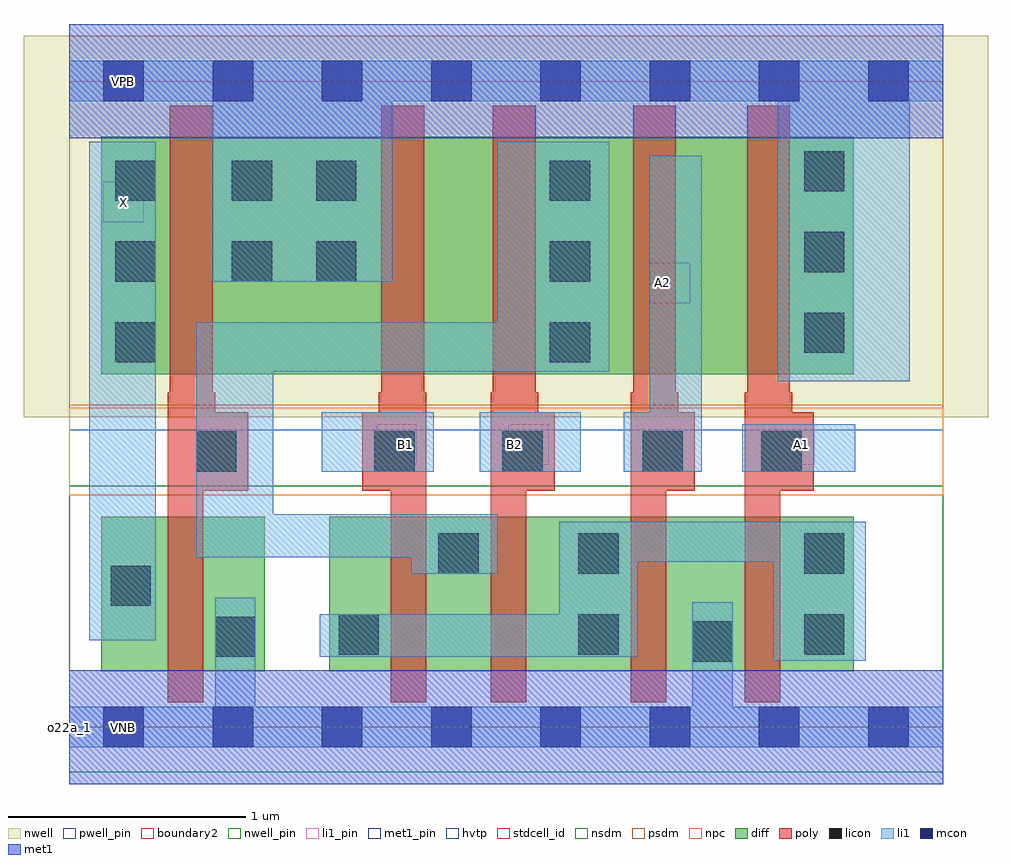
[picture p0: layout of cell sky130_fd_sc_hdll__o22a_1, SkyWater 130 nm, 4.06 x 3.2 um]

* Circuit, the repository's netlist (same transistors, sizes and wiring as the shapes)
* Copyright 2020 The SkyWater PDK Authors
*
* Licensed under the Apache License, Version 2.0 (the "License");
* you may not use this file except in compliance with the License.
* You may obtain a copy of the License at
*
*     https://www.apache.org/licenses/LICENSE-2.0
*
* Unless required by applicable law or agreed to in writing, software
* distributed under the License is distributed on an "AS IS" BASIS,
* WITHOUT WARRANTIES OR CONDITIONS OF ANY KIND, either express or implied.
* See the License for the specific language governing permissions and
* limitations under the License.
*
* SPDX-License-Identifier: Apache-2.0

.SUBCKT sky130_fd_sc_hdll__o22a_1 A1 A2 B1 B2 VGND VNB VPB VPWR X
*.PININFO A1:I A2:I B1:I B2:I VGND:I VNB:I VPB:I VPWR:I X:O
MMPA0 VPWR A1 sndA1 VPB sky130_fd_pr__pfet_01v8_hvt m=1 w=1.0U l=0.18U mult=1 sa=0.265
+ sb=0.265 sd=0.28 area=0.063 perim=1.14
MMPA1 sndA1 A2 y VPB sky130_fd_pr__pfet_01v8_hvt m=1 w=1.0U l=0.18U mult=1 sa=0.265
+ sb=0.265 sd=0.28 area=0.063 perim=1.14
MMPB0 VPWR B1 sndB1 VPB sky130_fd_pr__pfet_01v8_hvt m=1 w=1.0U l=0.18U mult=1 sa=0.265
+ sb=0.265 sd=0.28 area=0.063 perim=1.14
MMPB1 sndB1 B2 y VPB sky130_fd_pr__pfet_01v8_hvt m=1 w=1.0U l=0.18U mult=1 sa=0.265
+ sb=0.265 sd=0.28 area=0.063 perim=1.14
MMIPX X y VPWR VPB sky130_fd_pr__pfet_01v8_hvt m=1 w=1.0U l=0.18U mult=1 sa=0.265
+ sb=0.265 sd=0.28 area=0.063 perim=1.14
MMNA0 pndA A1 VGND VNB sky130_fd_pr__nfet_01v8 m=1 w=0.65U l=0.15U mult=1 sa=0.265
+ sb=0.265 sd=0.28 area=0.063 perim=1.14
MMNA1 pndA A2 VGND VNB sky130_fd_pr__nfet_01v8 m=1 w=0.65U l=0.15U mult=1 sa=0.265
+ sb=0.265 sd=0.28 area=0.063 perim=1.14
MMNB0 y B1 pndA VNB sky130_fd_pr__nfet_01v8 m=1 w=0.65U l=0.15U mult=1 sa=0.265
+ sb=0.265 sd=0.28 area=0.063 perim=1.14
MMNB1 y B2 pndA VNB sky130_fd_pr__nfet_01v8 m=1 w=0.65U l=0.15U mult=1 sa=0.265
+ sb=0.265 sd=0.28 area=0.063 perim=1.14
MMINX X y VGND VNB sky130_fd_pr__nfet_01v8 m=1 w=0.65U l=0.15U mult=1 sa=0.265
+ sb=0.265 sd=0.28 area=0.063 perim=1.14
.ENDS sky130_fd_sc_hdll__o22a_1

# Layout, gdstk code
import gdstk
lib = gdstk.Library(unit=1e-6, precision=1e-09)
def R(c, l, rs):  # rectangles x0, y0, x1, y1
    for r in rs: c.add(gdstk.rectangle(r[:2], r[2:], *l))
def A(c, l, x, y, w, h, nx, ny, dx, dy):  # array of equal rectangles
    R(c, l, [(x+i*dx, y+j*dy, x+i*dx+w, y+j*dy+h) for i in range(nx) for j in range(ny)])
def P(c, l, *ps):  # polygons
    for p in ps: c.add(gdstk.Polygon(p, *l))
nwell_pin = (64, 16)
nwell = (64, 20)
diff = (65, 20)
poly = (66, 20)
licon = (66, 44)
li1_pin = (67, 16)
li1 = (67, 20)
mcon = (67, 44)
met1_pin = (68, 16)
met1 = (68, 20)
hvtp = (78, 44)
stdcell_id = (81, 4)
nsdm = (93, 44)
psdm = (94, 20)
npc = (95, 20)
pwell_pin = (122, 16)
boundary2 = (236, 0)

sky130_fd_sc_hdll__o22a_ = lib.new_cell('sky130_fd_sc_hdll__o22a_1')
R(sky130_fd_sc_hdll__o22a_, nwell_pin, [(0.145,2.635,0.315,2.805)])
R(sky130_fd_sc_hdll__o22a_, nwell, [(-0.19,1.305,3.87,2.91)])
R(sky130_fd_sc_hdll__o22a_, diff, [(0.135,0.235,0.825,0.885), (1.095,0.235,3.305,0.885), (0.135,1.485,3.305,2.485)])
P(sky130_fd_sc_hdll__o22a_, poly, [(0.755,1.325),(0.615,1.325),(0.615,1.41),(0.605,1.41),(0.605,2.615),(0.425,2.615),(0.425,1.41),(0.415,1.41),(0.415,0.105),(0.565,0.105),(0.565,0.995),(0.755,0.995)],
  [(1.505,1.41),(1.495,1.41),(1.495,2.615),(1.315,2.615),(1.315,1.41),(1.305,1.41),(1.305,1.325),(1.235,1.325),(1.235,0.995),(1.355,0.995),(1.355,0.105),(1.505,0.105)],
  [(2.045,1.325),(1.975,1.325),(1.975,1.41),(1.965,1.41),(1.965,2.615),(1.785,2.615),(1.785,1.41),(1.775,1.41),(1.775,0.105),(1.925,0.105),(1.925,0.995),(2.045,0.995)],
  [(2.635,1.325),(2.565,1.325),(2.565,1.41),(2.555,1.41),(2.555,2.615),(2.375,2.615),(2.375,1.41),(2.365,1.41),(2.365,0.105),(2.515,0.105),(2.515,0.995),(2.635,0.995)],
  [(3.135,1.325),(3.045,1.325),(3.045,1.41),(3.035,1.41),(3.035,2.615),(2.855,2.615),(2.855,1.41),(2.845,1.41),(2.845,0.105),(2.995,0.105),(2.995,0.995),(3.135,0.995)])
A(sky130_fd_sc_hdll__o22a_, licon, 0.195, 1.535, 0.17, 0.17, 1, 3, 0, 0.34)
A(sky130_fd_sc_hdll__o22a_, licon, 2.025, 1.535, 0.17, 0.17, 1, 3, 0, 0.34)
A(sky130_fd_sc_hdll__o22a_, licon, 3.095, 1.575, 0.17, 0.17, 1, 3, 0, 0.34)
R(sky130_fd_sc_hdll__o22a_, licon, [(2.625,0.275,2.795,0.445), (0.615,0.295,0.785,0.465), (1.135,0.305,1.305,0.475), (2.145,0.305,2.315,0.475), (3.095,0.305,3.265,0.475), (0.175,0.51,0.345,0.68), (1.555,0.645,1.725,0.815), (2.145,0.645,2.315,0.815), (3.095,0.645,3.265,0.815), (0.535,1.075,0.705,1.245), (1.285,1.075,1.455,1.245), (1.825,1.075,1.995,1.245), (2.415,1.075,2.585,1.245), (2.915,1.075,3.085,1.245), (0.685,1.875,0.855,2.045), (1.04,1.875,1.21,2.045), (0.685,2.215,0.855,2.385), (1.04,2.215,1.21,2.385)])
R(sky130_fd_sc_hdll__o22a_, li1_pin, [(1.295,1.105,1.465,1.275), (1.85,1.105,2.02,1.275), (2.97,1.105,3.14,1.275), (2.445,1.785,2.615,1.955), (0.145,2.125,0.315,2.295)])
R(sky130_fd_sc_hdll__o22a_, li1, [(0.085,0.365,0.365,2.465), (1.065,1.075,1.535,1.325), (1.73,1.075,2.155,1.325), (2.835,1.075,3.31,1.275)])
P(sky130_fd_sc_hdll__o22a_, li1, [(2.275,2.465),(1.805,2.465),(1.805,1.705),(0.535,1.705),(0.535,0.715),(1.44,0.715),(1.44,0.645),(1.805,0.645),(1.805,0.895),(0.86,0.895),(0.86,1.495),(2.275,1.495)],
  [(2.665,2.405),(2.445,2.405),(2.445,1.325),(2.335,1.325),(2.335,1.075),(2.665,1.075)],
  [(3.68,0.085),(2.795,0.085),(2.795,0.525),(2.625,0.525),(2.625,0.085),(0.785,0.085),(0.785,0.545),(0.615,0.545),(0.615,0.085),(0,0.085),(0,-0.085),(3.68,-0.085)],
  [(3.355,0.865),(2.065,0.865),(2.065,0.475),(1.055,0.475),(1.055,0.295),(2.395,0.295),(2.395,0.695),(2.965,0.695),(2.965,0.28),(3.355,0.28)],
  [(3.68,2.805),(0,2.805),(0,2.635),(0.605,2.635),(0.605,1.875),(1.36,1.875),(1.36,2.635),(2.985,2.635),(2.985,1.455),(3.54,1.455),(3.54,2.635),(3.68,2.635)])
A(sky130_fd_sc_hdll__o22a_, mcon, 0.145, -0.085, 0.17, 0.17, 8, 2, 0.46, 2.72)
R(sky130_fd_sc_hdll__o22a_, met1_pin, [(0.145,-0.085,0.315,0.085), (0.145,2.635,0.315,2.805)])
R(sky130_fd_sc_hdll__o22a_, met1, [(0,-0.24,3.68,0.24), (0,2.48,3.68,2.96)])
R(sky130_fd_sc_hdll__o22a_, hvtp, [(0,1.25,3.68,2.72)])
R(sky130_fd_sc_hdll__o22a_, stdcell_id, [(0,0,3.68,2.72)])
R(sky130_fd_sc_hdll__o22a_, nsdm, [(0,-0.19,3.68,1.015)])
R(sky130_fd_sc_hdll__o22a_, psdm, [(0,1.355,3.68,2.91)])
R(sky130_fd_sc_hdll__o22a_, npc, [(0,0.975,3.68,1.345)])
R(sky130_fd_sc_hdll__o22a_, pwell_pin, [(0.145,-0.085,0.315,0.085)])
R(sky130_fd_sc_hdll__o22a_, boundary2, [(0,0,3.68,2.72)])
sky130_fd_sc_hdll__o22a_.add(gdstk.Label('A2', (2.5,1.87), layer=67, texttype=5))
sky130_fd_sc_hdll__o22a_.add(gdstk.Label('X', (0.23,2.21), layer=67, texttype=5))
sky130_fd_sc_hdll__o22a_.add(gdstk.Label('B1', (1.415,1.19), layer=67, texttype=5))
sky130_fd_sc_hdll__o22a_.add(gdstk.Label('A1', (3.085,1.19), layer=67, texttype=5))
sky130_fd_sc_hdll__o22a_.add(gdstk.Label('B2', (1.875,1.19), layer=67, texttype=5))
sky130_fd_sc_hdll__o22a_.add(gdstk.Label('VPB', (0.23,2.72), layer=64, texttype=5))
sky130_fd_sc_hdll__o22a_.add(gdstk.Label('VNB', (0.23,0), layer=64, texttype=59))
sky130_fd_sc_hdll__o22a_.add(gdstk.Label('VGND', (0.23,0), layer=68, texttype=5))
sky130_fd_sc_hdll__o22a_.add(gdstk.Label('VPWR', (0.23,2.72), layer=68, texttype=5))
sky130_fd_sc_hdll__o22a_.add(gdstk.Label('o22a_1', (0,0), layer=83, texttype=44))

lib.write_gds('sky130_fd_sc_hdll__o22a_1.gds')
